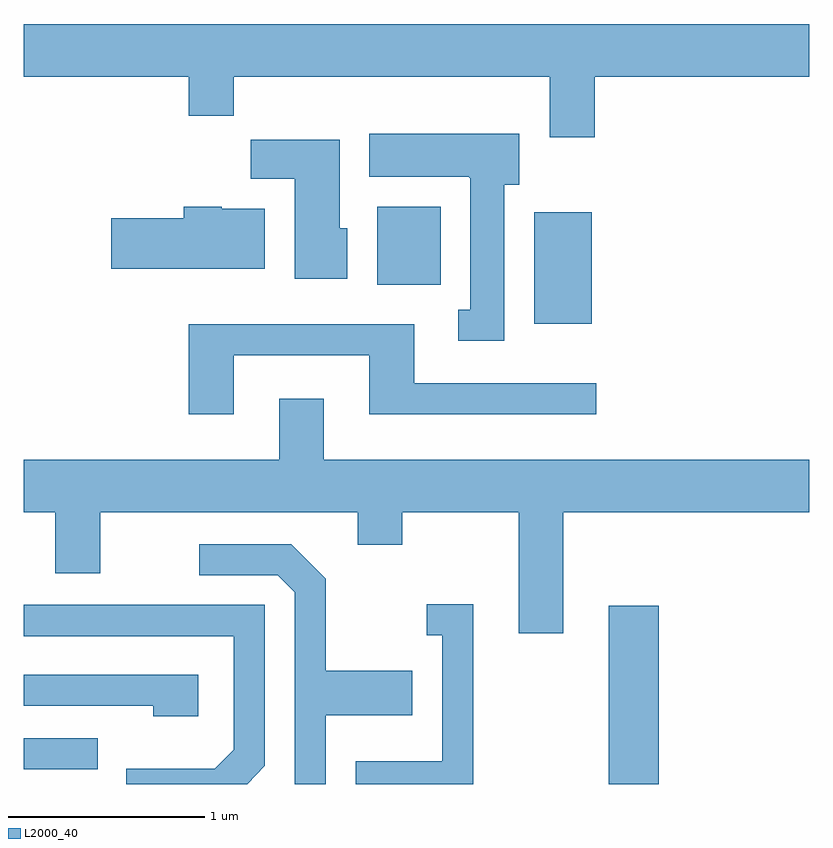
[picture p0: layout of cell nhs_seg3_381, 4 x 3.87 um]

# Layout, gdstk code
import gdstk
lib = gdstk.Library(unit=1e-6, precision=1e-09)
def R(c, l, rs):  # rectangles x0, y0, x1, y1
    for r in rs: c.add(gdstk.rectangle(r[:2], r[2:], *l))
def P(c, l, *ps):  # polygons
    for p in ps: c.add(gdstk.Polygon(p, *l))
L2000_40 = (2000, 40)

nhs_seg3_381 = lib.new_cell('nhs_seg3_381')
R(nhs_seg3_381, L2000_40, [(198.591,1197.892,198.844,1198.799), (195.611,1197.966,195.988,1198.124), (198.211,1200.236,198.504,1200.804), (197.411,1200.436,197.734,1200.834)])
P(nhs_seg3_381, L2000_40, [(198.519,1201.496),(199.611,1201.496),(199.611,1201.764),(195.611,1201.764),(195.611,1201.496),(196.451,1201.496),(196.451,1201.296),(196.679,1201.296),(196.679,1201.496),(198.291,1201.496),(198.291,1201.186),(198.519,1201.186)],
  [(198.059,1200.946),(198.134,1200.946),(198.134,1201.204),(197.371,1201.204),(197.371,1200.986),(197.88,1200.986),(197.88,1200.98),(197.886,1200.98),(197.886,1200.309),(197.823,1200.309),(197.823,1200.151),(198.059,1200.151)],
  [(197.259,1200.724),(197.219,1200.724),(197.219,1201.174),(196.766,1201.174),(196.766,1200.976),(196.991,1200.976),(196.991,1200.466),(197.259,1200.466)],
  [(196.839,1200.824),(196.62,1200.824),(196.62,1200.834),(196.426,1200.834),(196.426,1200.774),(196.056,1200.774),(196.056,1200.516),(196.839,1200.516)],
  [(196.679,1200.076),(197.371,1200.076),(197.371,1199.776),(198.528,1199.776),(198.528,1199.934),(197.599,1199.934),(197.599,1200.234),(196.451,1200.234),(196.451,1199.776),(196.679,1199.776)],
  [(198.359,1199.276),(199.611,1199.276),(199.611,1199.544),(197.139,1199.544),(197.139,1199.854),(196.911,1199.854),(196.911,1199.544),(195.611,1199.544),(195.611,1199.276),(195.771,1199.276),(195.771,1198.966),(195.999,1198.966),(195.999,1199.276),(197.311,1199.276),(197.311,1199.111),(197.539,1199.111),(197.539,1199.276),(198.131,1199.276),(198.131,1198.661),(198.359,1198.661)],
  [(197.149,1198.241),(197.589,1198.241),(197.589,1198.469),(197.149,1198.469),(197.149,1198.937),(196.972,1199.114),(196.503,1199.114),(196.503,1198.956),(196.904,1198.956),(196.991,1198.869),(196.991,1197.892),(197.149,1197.892)],
  [(197.899,1198.809),(197.663,1198.809),(197.663,1198.651),(197.741,1198.651),(197.741,1198.009),(197.301,1198.009),(197.301,1197.892),(197.899,1197.892)],
  [(196.839,1197.984),(196.839,1198.804),(195.611,1198.804),(195.611,1198.646),(196.681,1198.646),(196.681,1198.067),(196.584,1197.969),(196.131,1197.969),(196.131,1197.892),(196.748,1197.892)],
  [(196.499,1198.449),(195.611,1198.449),(195.611,1198.291),(196.271,1198.291),(196.271,1198.236),(196.499,1198.236)])

lib.write_gds('nhs_seg3_381.gds')
